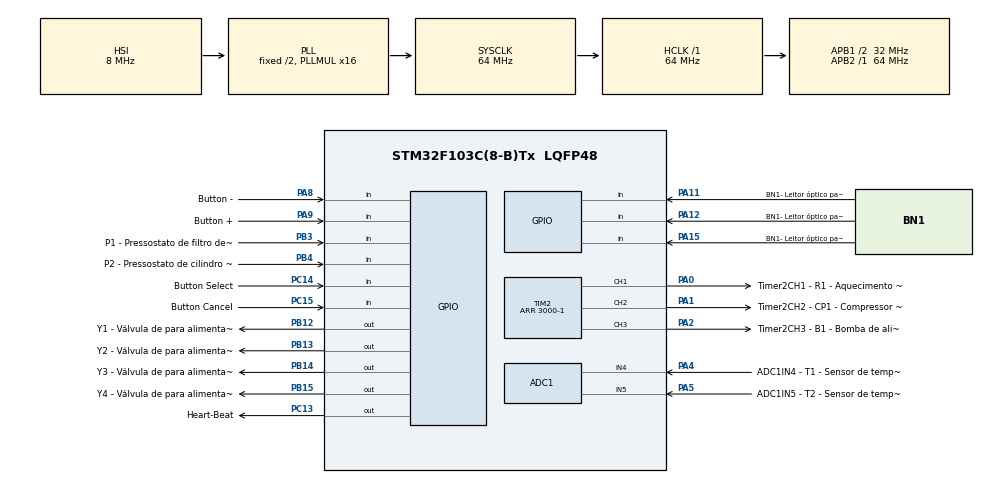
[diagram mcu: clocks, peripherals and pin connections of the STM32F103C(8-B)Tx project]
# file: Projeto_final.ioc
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ADC1.Channel-10\#ChannelRegularConversion=ADC_CHANNEL_4
ADC1.Channel-11\#ChannelRegularConversion=ADC_CHANNEL_4
ADC1.Channel-12\#ChannelRegularConversion=ADC_CHANNEL_4
ADC1.Channel-13\#ChannelRegularConversion=ADC_CHANNEL_4
ADC1.Channel-2\#ChannelRegularConversion=ADC_CHANNEL_4
ADC1.Channel-3\#ChannelRegularConversion=ADC_CHANNEL_4
ADC1.Channel-4\#ChannelRegularConversion=ADC_CHANNEL_4
ADC1.Channel-5\#ChannelRegularConversion=ADC_CHANNEL_4
ADC1.Channel-6\#ChannelRegularConversion=ADC_CHANNEL_4
ADC1.Channel-7\#ChannelRegularConversion=ADC_CHANNEL_4
ADC1.Channel-8\#ChannelRegularConversion=ADC_CHANNEL_4
ADC1.Channel-9\#ChannelRegularConversion=ADC_CHANNEL_4
ADC1.NbrOfConversion=12
ADC1.NbrOfConversionFlag=1
ADC1.Rank-10\#ChannelRegularConversion=9
ADC1.Rank-11\#ChannelRegularConversion=10
ADC1.Rank-12\#ChannelRegularConversion=11
ADC1.Rank-13\#ChannelRegularConversion=12
ADC1.Rank-2\#ChannelRegularConversion=1
ADC1.Rank-3\#ChannelRegularConversion=2
ADC1.Rank-4\#ChannelRegularConversion=3
ADC1.Rank-5\#ChannelRegularConversion=4
ADC1.Rank-6\#ChannelRegularConversion=5
ADC1.Rank-7\#ChannelRegularConversion=6
ADC1.Rank-8\#ChannelRegularConversion=7
ADC1.Rank-9\#ChannelRegularConversion=8
ADC1.SamplingTime-10\#ChannelRegularConversion=ADC_SAMPLETIME_1CYCLE_5
ADC1.SamplingTime-11\#ChannelRegularConversion=ADC_SAMPLETIME_1CYCLE_5
ADC1.SamplingTime-12\#ChannelRegularConversion=ADC_SAMPLETIME_1CYCLE_5
ADC1.SamplingTime-13\#ChannelRegularConversion=ADC_SAMPLETIME_1CYCLE_5
ADC1.SamplingTime-2\#ChannelRegularConversion=ADC_SAMPLETIME_1CYCLE_5
ADC1.SamplingTime-3\#ChannelRegularConversion=ADC_SAMPLETIME_1CYCLE_5
ADC1.SamplingTime-4\#ChannelRegularConversion=ADC_SAMPLETIME_1CYCLE_5
ADC1.SamplingTime-5\#ChannelRegularConversion=ADC_SAMPLETIME_1CYCLE_5
ADC1.SamplingTime-6\#ChannelRegularConversion=ADC_SAMPLETIME_1CYCLE_5
ADC1.SamplingTime-7\#ChannelRegularConversion=ADC_SAMPLETIME_1CYCLE_5
ADC1.SamplingTime-8\#ChannelRegularConversion=ADC_SAMPLETIME_1CYCLE_5
ADC1.SamplingTime-9\#ChannelRegularConversion=ADC_SAMPLETIME_1CYCLE_5
ADC1.master=1
Dma.ADC1.0.Direction=DMA_PERIPH_TO_MEMORY
Dma.ADC1.0.Instance=DMA1_Channel1
Dma.ADC1.0.MemDataAlignment=DMA_MDATAALIGN_WORD
Dma.ADC1.0.MemInc=DMA_MINC_ENABLE
Dma.ADC1.0.Mode=DMA_CIRCULAR
Dma.ADC1.0.PeriphDataAlignment=DMA_PDATAALIGN_WORD
Dma.ADC1.0.PeriphInc=DMA_PINC_DISABLE
Dma.ADC1.0.Priority=DMA_PRIORITY_LOW
Dma.Request0=ADC1
Mcu.Family=STM32F1
Mcu.Name=STM32F103C(8-B)Tx
Mcu.Package=LQFP48
NVIC.DMA1_Channel1_IRQn=true\:0\:0\:false\:false\:true\:false\:true
NVIC.PriorityGroup=NVIC_PRIORITYGROUP_4
NVIC.TIM3_IRQn=true\:0\:0\:false\:false\:true\:true\:true
NVIC.TIM4_IRQn=true\:0\:0\:false\:false\:true\:true\:true
PA0-WKUP.GPIO_Label=Timer2CH1 - R1 - Aquecimento resistivo, sa\u00EDda PWM
PA0-WKUP.Signal=S_TIM2_CH1_ETR
PA1.GPIO_Label=Timer2CH2 - CP1 - Compressor de refrigera\u00E7\u00E3o, sa\u00EDda PWM
PA1.Signal=S_TIM2_CH2
PA11.GPIO_Label=BN1- Leitor \u00F3ptico para detec\u00E7\u00E3o do tipo de c\u00E1psula - bit0
PA11.GPIO_PuPd=GPIO_PULLDOWN
PA11.Signal=GPIO_Input
PA12.GPIO_Label=BN1- Leitor \u00F3ptico para detec\u00E7\u00E3o do tipo de c\u00E1psula - bit1
PA12.GPIO_PuPd=GPIO_PULLDOWN
PA12.Signal=GPIO_Input
PA13.Mode=Serial_Wire
PA13.Signal=SYS_JTMS-SWDIO
PA14.Mode=Serial_Wire
PA14.Signal=SYS_JTCK-SWCLK
PA15.GPIO_Label=BN1- Leitor \u00F3ptico para detec\u00E7\u00E3o do tipo de c\u00E1psula - bit2
PA15.GPIO_PuPd=GPIO_PULLDOWN
PA15.Signal=GPIO_Input
PA2.GPIO_Label=Timer2CH3 - B1 - Bomba de alimenta\u00E7\u00E3o de \u00E1gua, sa\u00EDda PWM
PA2.Signal=S_TIM2_CH3
PA4.GPIO_Label=ADC1IN4 - T1 - Sensor de temperatura anal\u00F3gico, 5..100\u00BAC
PA4.Signal=ADCx_IN4
PA5.GPIO_Label=ADC1IN5 - T2 - Sensor de temperatura anal\u00F3gico, 5..50\u00BAC
PA5.Signal=ADCx_IN5
PA8.GPIO_Label=Button -
PA8.Signal=GPIO_Input
PA9.GPIO_Label=Button +
PA9.Signal=GPIO_Input
PB12.GPIO_Label=Y1 - V\u00E1lvula de para alimenta\u00E7\u00E3o de \u00E1gua quente
PB12.Signal=GPIO_Output
PB13.GPIO_Label=Y2 - V\u00E1lvula de para alimenta\u00E7\u00E3o de \u00E1gua gelada
PB13.Signal=GPIO_Output
PB14.GPIO_Label=Y3 - V\u00E1lvula de para alimenta\u00E7\u00E3o de \u00E1gua natural
PB14.Signal=GPIO_Output
PB15.GPIO_Label=Y4 - V\u00E1lvula de para alimenta\u00E7\u00E3o de CO2
PB15.Signal=GPIO_Output
PB3.GPIO_Label=P1 - Pressostato de filtro de \u00E1gua saturado, contato NF, abre se filtro saturado
PB3.Signal=GPIO_Input
PB4.GPIO_Label=P2 - Pressostato de cilindro de CO2 vazio, contato NF, abre se cilindro vazio
PB4.Signal=GPIO_Input
PC13-TAMPER-RTC.GPIO_Label=Heart-Beat
PC13-TAMPER-RTC.Signal=GPIO_Output
PC14-OSC32_IN.GPIO_Label=Button Select
PC14-OSC32_IN.Signal=GPIO_Input
PC15-OSC32_OUT.GPIO_Label=Button Cancel
PC15-OSC32_OUT.Signal=GPIO_Input
PD0-OSC_IN.Mode=HSE-External-Oscillator
PD0-OSC_IN.Signal=RCC_OSC_IN
PD1-OSC_OUT.Mode=HSE-External-Oscillator
PD1-OSC_OUT.Signal=RCC_OSC_OUT
ProjectManager.HeapSize=0x200
ProjectManager.StackSize=0x400
ProjectManager.TargetToolchain=STM32CubeIDE
RCC.ADCPresc=RCC_ADCPCLK2_DIV6
RCC.AHBFreq_Value=64000000
RCC.APB1CLKDivider=RCC_HCLK_DIV2
RCC.APB1Freq_Value=32000000
RCC.APB1TimFreq_Value=64000000
RCC.APB2Freq_Value=64000000
RCC.APB2TimFreq_Value=64000000
RCC.HCLKFreq_Value=64000000
RCC.PLLMUL=RCC_PLL_MUL16
RCC.SYSCLKFreq_VALUE=64000000
RCC.SYSCLKSource=RCC_SYSCLKSOURCE_PLLCLK
RCC.USBFreq_Value=64000000
SH.ADCx_IN4.0=ADC1_IN4,IN4
SH.ADCx_IN5.0=ADC1_IN5,IN5
SH.S_TIM2_CH1_ETR.0=TIM2_CH1,PWM Generation1 CH1
SH.S_TIM2_CH2.0=TIM2_CH2,PWM Generation2 CH2
SH.S_TIM2_CH3.0=TIM2_CH3,PWM Generation3 CH3
TIM2.Channel-PWM\ Generation1\ CH1=TIM_CHANNEL_1
TIM2.Channel-PWM\ Generation2\ CH2=TIM_CHANNEL_2
TIM2.Channel-PWM\ Generation3\ CH3=TIM_CHANNEL_3
TIM2.Period=3000-1
TIM3.Period=3334
TIM3.Prescaler=7201
TIM4.Period=10001
TIM4.Prescaler=7201
VP_TIM2_VS_ClockSourceINT.Mode=Internal
VP_TIM3_VS_ClockSourceINT.Mode=Internal
VP_TIM4_VS_ClockSourceINT.Mode=Internal
board=custom

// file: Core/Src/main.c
/* USER CODE BEGIN Header */
/**
 ******************************************************************************
 * @file           : main.c
 * @brief          : Main program body
 ******************************************************************************
 * @attention
 *
 * <h2><center>&copy; Copyright (c) 2020 STMicroelectronics.
 * All rights reserved.</center></h2>
 *
 * This software component is licensed by ST under BSD 3-Clause license,
 * the "License"; You may not use this file except in compliance with the
 * License. You may obtain a copy of the License at:
 *                        opensource.org/licenses/BSD-3-Clause
 *
 ******************************************************************************
 */
/* USER CODE END Header */
#include "main.h"

/* USER CODE BEGIN Includes */
#include <time.h>
#include <string.h>
#include <stdio.h>
#include <stdlib.h>
#include "LCD16x2.h"
#include "capsules.h"
#include "relogio.h"
/* USER CODE END Includes */

/* USER CODE BEGIN PD */

#define NUMBER_OF_CONVERSION 12
#define sim 1
#define nao 0
#define scala_temperatura (3.3 / 4095) / 0.005
#define MAX_DUTY_CYCLE_VALUE_TIM2 3000
#define MAX_DUTY_CYCLE_VALUE_TIM1 3000

/* USER CODE END PD */

ADC_HandleTypeDef hadc1;
DMA_HandleTypeDef hdma_adc1;

TIM_HandleTypeDef htim2;
TIM_HandleTypeDef htim3;
TIM_HandleTypeDef htim4;

/* USER CODE BEGIN PV */

//Variáveis para as saídas e entradas da maquina
uint8_t P1 = GPIO_PIN_3; //pino PB3
uint8_t P2 = GPIO_PIN_4; //pino PB4

uint8_t Y1 = GPIO_PIN_12; //pino PB12
uint8_t Y2 = GPIO_PIN_13; //pino PB13
uint8_t Y3 = GPIO_PIN_14; //pino PB14
uint8_t Y4 = GPIO_PIN_15; //pino PB15

uint16_t B1;               //pino PA2
uint16_t R1;               //pino PA0
uint16_t T1;               //pino PA4
uint16_t CP1;              //pino PA1
uint16_t T2;               //pino PA5

uint8_t Bn1_bit0 = GPIO_PIN_11; //pino PA11
uint8_t Bn1_bit1 = GPIO_PIN_12; //pino PA12
uint8_t Bn1_bit2 = GPIO_PIN_15; //pino PA15

uint8_t Bn1;
uint8_t estadoP1;
uint8_t estadoP2;

//Variáveis para o DMA e ADC
uint8_t adcDataReady;
uint32_t adcData[NUMBER_OF_CONVERSION];

//Variáveis dos botões
uint16_t btn_c = GPIO_PIN_15;    //pino PC15
uint16_t btn_mais = GPIO_PIN_9;  //pino PA9
uint16_t btn_menos = GPIO_PIN_8; //pino PA8
uint16_t btn_s = GPIO_PIN_14;    //pino PC14
uint8_t state_btn_c;
uint8_t state_btn_mais;
uint8_t state_btn_menos;
uint8_t state_btn_s;

//outras variaveis
uint8_t testee;
int32_t i;
int32_t j;
uint8_t testeRelogio;
int8_t selecao = -1;
int8_t last_selecao = -1;
uint8_t tela;
uint16_t aux1;
uint16_t aux2;
uint32_t dutyCycle_TIM1_CH4;
uint32_t dutyCycle_TIM2_CH1;
uint32_t dutyCycle_TIM2_CH2;
uint16_t horas;
uint16_t minutos;
uint16_t segundos;
char auxrelogio[2];
/* USER CODE END PV */

void SystemClock_Config(void);
static void MX_GPIO_Init(void);
static void MX_DMA_Init(void);
static void MX_ADC1_Init(void);
static void MX_TIM2_Init(void);
static void MX_TIM3_Init(void);
static void MX_TIM4_Init(void);

int main(void)
{

  /* MCU Configuration--------------------------------------------------------*/

  /* Reset of all peripherals, Initializes the Flash interface and the Systick. */
  HAL_Init();

  /* USER CODE BEGIN Init */
  SystemClock_Config();
  MX_GPIO_Init();
  LCD_Init();
  LCD_Clear();
  /* USER CODE END Init */

  /* Configure the system clock */
  SystemClock_Config();

  /* Initialize all configured peripherals */
  MX_GPIO_Init();
  MX_DMA_Init();
  MX_ADC1_Init();
  MX_TIM2_Init();
  MX_TIM3_Init();
  MX_TIM4_Init();
  /* USER CODE BEGIN 2 */

  //Calibração do ADC
  HAL_ADCEx_Calibration_Start(&hadc1);

  //Inicializa timers
  //HAL_TIM_PWM_Start(&htim1, TIM_CHANNEL_4);
  HAL_TIM_PWM_Start(&htim2, TIM_CHANNEL_1);
  HAL_TIM_PWM_Start(&htim2, TIM_CHANNEL_2);
  HAL_TIM_Base_Start_IT(&htim3);
  HAL_TIM_Base_Start_IT(&htim4);

  //captura a hora do sistema e converte para uint
  strcpy(auxrelogio, __TIME__);
  horas = atoi(auxrelogio);
  strcpy(auxrelogio, __TIME__ + 3);
  minutos = atoi(auxrelogio);
  strcpy(auxrelogio, __TIME__ + 6);
  segundos = atoi(auxrelogio);

  //Inicializa o display
  LCD_Init();
  LCD_Clear();
  LCD_Set_Cursor(2, 1);
  LCD_Write_String(" LIGANDO ");
  HAL_Delay(1500);

  //Insere as informações das capsulas na estrutura
  capsules_init();

  /* Infinite loop */
  LCD_Clear();

  /* USER CODE END 2 */

  /* Infinite loop */
  while (1)
  {

    /* USER CODE BEGIN 3 */

    //identificando capsula
    Bn1 = capsules_get_value(GPIOA, Bn1_bit0, Bn1_bit1, Bn1_bit2);

    //status dos pressostatos
    estadoP1 = HAL_GPIO_ReadPin(GPIOB, P1);
    estadoP2 = HAL_GPIO_ReadPin(GPIOB, P2);

    // verifica se filtro ta ok e se tem co2
    if (!estadoP1)
    {
      LCD_Clear();
      LCD_Set_Cursor(1, 1);
      LCD_Write_String("Filtro Saturado");
      tela = 0;
    }

    if ((Bn1 == 0 && !estadoP2 && capsulas[Bn1].com_gas == sim) || (!estadoP1 && !estadoP2))
    {
      //Se sem CO2 e sem CAPSULAS Ou pressostatos vazios}
      LCD_Clear();
      LCD_Set_Cursor(1, 1);
      LCD_Write_String("CO2 vazio");
    }

    switch (tela)
    {
    case 0:

      //identifica se tem capsula e mostra hora
      atualiza_hora(horas, minutos, segundos);

      //se tem capsula vai pra prox tela
      if (Bn1 != 0 && estadoP1)
      {
        tela = 1;
      }

      //se n tiver mostra relogio dnv
      else
      {
        testeRelogio = 0;
        HAL_Delay(50);
      }
      break;

    case 1: //entra auqi para identificar a capsula

      if (strcmp(capsulas[Bn1].nome, "Cap. nao cadast.") == 0 || Bn1 == 0)
      {
        //Se n existe a capsula
        tela = 1;
        testeRelogio = 0;
        HAL_Delay(50);
        break;
      }

      if (capsulas[Bn1].com_gas == sim && !estadoP2)
      {
        //Se precisa de gas e n tem trava
        tela = 0;
        break;
      }

      if (strcmp(capsulas[Bn1].nome, "      Agua      ") == 0 && selecao == -1)
      {
        //muda de estado se precisa escolher agua
        tela = 10;
        selecao = 0;
        break;
      }

      if (testeRelogio)
      {
        //Se der pau e cancelar mostra relogio
        tela = 0;
      }

      //mostra qual a capsula e espera aperta S pra começa
      else
      {
        LCD_Clear();
        LCD_Set_Cursor(1, 1);
        LCD_Write_String(capsulas[Bn1].nome);
        LCD_Set_Cursor(2, 1);
        LCD_Write_String(" Press S Start ");
        HAL_Delay(50);
      }

      if (state_btn_s)
      {
    	  //se for agua vai rpa tela 10 se for outros vai pra 2
        if (strcmp(capsulas[Bn1].nome, "      Agua      ") == 0 && selecao == 4)
        {
          //Caso o usuario tenha inserido a capsula de Agua e não selecionato o
          tela = 10;
          state_btn_s = 0;
          testeRelogio = 0;
          break;
        }
        tela = 2;
        testeRelogio = 0;
      }

      if (state_btn_c)
      {
    	//Se o usuário inseriu a capsula e cancelou o início - muda o status do relógio
        testeRelogio = 1;
        LCD_Clear();
      }

      break;

    case 2:

      testee = Bn1;
      Bn1 = capsules_get_value(GPIOA, Bn1_bit0, Bn1_bit1, Bn1_bit2);

      //aqui compara se tiver diferente é pq troco a capsula e volta mostra o relogio
      if (Bn1 != testee)
      {
        tela = 1;
        testeRelogio = 1;
      }
      //se nao vai pra prox
      if (state_btn_s == 1)
      {
        tela = 3;
      }
      break;

    case 3: //Identifica qual o tipo de água da capsula e faz o aquecimento ou resfriamento se necessário

      //Leitura das temperaturas do potenciomentro
      T1 = 0;
      T2 = 0;
      for (j = 0; j < 6; j++)
      {
    	  //Lê 6 vezes os 12 canias para ter 36 amostra de cada sensor de temperatura
        HAL_ADC_Start_DMA(&hadc1, adcData, NUMBER_OF_CONVERSION);
        while (!adcDataReady)
        {
        }
        if (adcDataReady)
        {
          adcDataReady = 0;
          aux1 = 0;
          aux1 = 0;
          for (i = 0; i < NUMBER_OF_CONVERSION; i++)
          {
            if (i < 6)
            {
              aux1 += adcData[i];
            }
            else
            {
              aux2 += adcData[i];
            }
          }
          aux1 /= (NUMBER_OF_CONVERSION / 2);
          aux2 /= (NUMBER_OF_CONVERSION / 2);
          aux1 *= scala_temperatura;
          aux2 *= scala_temperatura;
          T1 += aux1;
          T2 += aux2;
        }
      }

      T1 /= 6;
      T2 /= 6;

      if (strcmp(capsulas[Bn1].tipo_agua, "quente") == 0)
      {
        LCD_Clear();
        LCD_Set_Cursor(1, 1);
        LCD_Write_String(" Aquecendo agua ");
        HAL_Delay(40);

        if (T1 >= capsulas[Bn1].temperatura_agua)
        {                                             //Se a temperatura da água estiver menor ou igual a temperatura especificada na capsula
          HAL_GPIO_WritePin(GPIOB, Y1, GPIO_PIN_SET); //Abre valvula de aguá gelada
          tela = 4;                                   //Avança para o próximo estado
          dutyCycle_TIM2_CH1 = 0;                     //Desliga o compressor
          TIM2->CCR1 = dutyCycle_TIM2_CH1;
        }

        else
        {                                                                                                                 //Senão faz a ação de controle
          dutyCycle_TIM2_CH1 = (100 - ((T1 * 100) / capsulas[Bn1].temperatura_agua)) * (MAX_DUTY_CYCLE_VALUE_TIM2 / 100); //Equação para o controle proporcional da resitencia
          TIM2->CCR1 = dutyCycle_TIM2_CH1;
        }
      }

      if (strcmp(capsulas[Bn1].tipo_agua, "gelada") == 0)
      {
    	  //Se a temperatura da água estiver maior ou igual a temperatura especificada na capsula
        LCD_Clear();
        LCD_Set_Cursor(2, 1);
        LCD_Write_String("  Gelando agua  ");
        HAL_Delay(40);

        if (T2 <= capsulas[Bn1].temperatura_agua)
        {
          HAL_GPIO_WritePin(GPIOB, Y2, GPIO_PIN_SET); //Abre valvula de água quente
          tela = 4;                                   //Avança para o próximo estado
          dutyCycle_TIM2_CH2 = 0;                     //Desliga a resitência
          TIM2->CCR2 = dutyCycle_TIM2_CH2;  			//faz o tempo necessario
        }

        else
        {                                                                             //Senão faz a ação de controle
          dutyCycle_TIM2_CH2 = ((T2 * 100) / 50) * (MAX_DUTY_CYCLE_VALUE_TIM2 / 100); //Equação para o controle proporcional do compressor
          TIM2->CCR2 = dutyCycle_TIM2_CH2;
        }
      }

      if (strcmp(capsulas[Bn1].tipo_agua, "natural") == 0)
      {
    	  //Se o tipo de água for natural só abre a valvula
        LCD_Clear();
        LCD_Set_Cursor(2, 1);
        LCD_Write_String("  Agua natural  ");
        HAL_GPIO_WritePin(GPIOB, Y3, GPIO_PIN_SET); //Abre valvula de água natural
        tela = 4;                                   //Avança para o próximo estado
      }

      break;

    case 4: //Ativa a bomba e o CO2
      LCD_Clear();
      LCD_Set_Cursor(2, 0);
      LCD_Write_String(" preparando");
      LCD_Set_Cursor(2, 1);
      LCD_Write_String(" bebida");

      //ve se precisa de gas ai ativa as bombas
      if (capsulas[Bn1].com_gas == sim)
      {
        HAL_GPIO_WritePin(GPIOB, Y4, GPIO_PIN_SET); //Abre valvula de gás
        for (i = 0; i <= 3000; i++)
        { //Liga gradualmente a bomba
          dutyCycle_TIM1_CH4 = i;
          TIM1->CCR4 = dutyCycle_TIM1_CH4;
          HAL_Delay(0.06);
        }

        HAL_Delay(((capsulas[Bn1].tempo_gas) * 1000) - 200);
        HAL_GPIO_WritePin(GPIOB, Y4, GPIO_PIN_RESET); //Fecha valvula de gas
        HAL_Delay(
            ((capsulas[Bn1].tempo_agua - capsulas[Bn1].tempo_gas) * 1000) - 250);
        for (i = 3000; i >= 0; i--)
        { //Desliga gradualmete o bomba
          dutyCycle_TIM1_CH4 = i;
          TIM1->CCR4 = dutyCycle_TIM1_CH4;
          HAL_Delay(0.08);
        }
      }

      else
      {
        for (i = 0; i <= 3000; i++)
        {
        	//Liga bomba
          dutyCycle_TIM1_CH4 = i;
          TIM1->CCR4 = dutyCycle_TIM1_CH4;
          HAL_Delay(0.06);
        }
        HAL_Delay(((capsulas[Bn1].tempo_agua) * 1000) - 550);

        for (i = 3000; i >= 0; i--)

        {
        	//Desliga  bomba
          dutyCycle_TIM1_CH4 = i;
          TIM1->CCR4 = dutyCycle_TIM1_CH4;
          HAL_Delay(0.08);
        }
      }

      //desliga os led e fecha as bomba
      HAL_GPIO_WritePin(GPIOB, Y1, GPIO_PIN_RESET);
      HAL_GPIO_WritePin(GPIOB, Y2, GPIO_PIN_RESET);
      HAL_GPIO_WritePin(GPIOB, Y3, GPIO_PIN_RESET);
      tela = 5;

      break;

    case 5: //quando acaba de preparar a bebida vem pra ca e pede pra zerar os bits
      LCD_Clear();
      LCD_Set_Cursor(2, 0);
      LCD_Write_String(" Remover capsula");
      HAL_Delay(2000);
      if (Bn1 == 0)
      {
    	  //Se capsula removida

        LCD_Clear();
        tela = 0; //Retorna para o tela inicial
      }
      break;

    case 10: //Seleção do tipo de água para a capsula de Agua

      if (strcmp(capsulas[Bn1].nome, "      Agua      ") != 0)
      {           //Se o usuário retirar a capsula ou for uma capsula diferente
        tela = 0; //Retorna para o estado inicial
        selecao = -1;
        break;
      }
      //Incremento se os botões forem pressionados
      if (state_btn_mais)
        selecao++;
      if (state_btn_menos)
        selecao--;

      //Se C presionado vai para o estado 1
      if (state_btn_c)
      {
    	 LCD_Clear();
        tela = 0;
        selecao = -1;
        LCD_Clear();
        break;
      }

      //Organiza a seleçao
      if (selecao == -1)
        selecao = 3;
      if (selecao == 4)
        selecao = 0;

      if (last_selecao != selecao)
      {
        tela = 11;
      }

      //Se S pressionado vai para o estado 1
      if (state_btn_s)
      {
        tela = 1;
      }

      break;

    case 11:

      //As opções
      if (selecao == 0)
      {
        LCD_Clear();
        LCD_Set_Cursor(1, 1);
        LCD_Write_String(" Tipo Agua ");
        LCD_Set_Cursor(2, 1);
        LCD_Write_String("   Agua quente  ");
        strcpy(capsulas[Bn1].tipo_agua, "quente");
        capsulas[Bn1].temperatura_agua = 80;
        capsulas[Bn1].tempo_agua = 3;
      }
      if (selecao == 1)
      {
        LCD_Clear();
        LCD_Set_Cursor(1, 1);
        LCD_Write_String(" Tipo Agua ");
        LCD_Set_Cursor(2, 1);
        LCD_Write_String("   Agua gelada  ");
        strcpy(capsulas[Bn1].tipo_agua, "gelada");
        capsulas[Bn1].temperatura_agua = 10;
        capsulas[Bn1].tempo_agua = 3;
      }
      if (selecao == 3)
      {
        LCD_Clear();
        LCD_Set_Cursor(1, 1);
        LCD_Write_String(" Tipo Agua ");
        LCD_Set_Cursor(2, 1);
        LCD_Write_String("   Agua natural  ");
        strcpy(capsulas[Bn1].tipo_agua, "natural");
        capsulas[Bn1].tempo_agua = 3;
      }

      last_selecao = selecao;
      tela = 10;

      break;
    }
  }
}
/* USER CODE END 3 */

void SystemClock_Config(void)
{
  RCC_OscInitTypeDef RCC_OscInitStruct = {0};
  RCC_ClkInitTypeDef RCC_ClkInitStruct = {0};
  RCC_PeriphCLKInitTypeDef PeriphClkInit = {0};

  /** Initializes the RCC Oscillators according to the specified parameters
  * in the RCC_OscInitTypeDef structure.
  */
  RCC_OscInitStruct.OscillatorType = RCC_OSCILLATORTYPE_HSI;
  RCC_OscInitStruct.HSIState = RCC_HSI_ON;
  RCC_OscInitStruct.HSICalibrationValue = RCC_HSICALIBRATION_DEFAULT;
  RCC_OscInitStruct.PLL.PLLState = RCC_PLL_ON;
  RCC_OscInitStruct.PLL.PLLSource = RCC_PLLSOURCE_HSI_DIV2;
  RCC_OscInitStruct.PLL.PLLMUL = RCC_PLL_MUL16;
  if (HAL_RCC_OscConfig(&RCC_OscInitStruct) != HAL_OK)
  {
    Error_Handler();
  }
  /** Initializes the CPU, AHB and APB buses clocks
  */
  RCC_ClkInitStruct.ClockType = RCC_CLOCKTYPE_HCLK | RCC_CLOCKTYPE_SYSCLK | RCC_CLOCKTYPE_PCLK1 | RCC_CLOCKTYPE_PCLK2;
  RCC_ClkInitStruct.SYSCLKSource = RCC_SYSCLKSOURCE_PLLCLK;
  RCC_ClkInitStruct.AHBCLKDivider = RCC_SYSCLK_DIV1;
  RCC_ClkInitStruct.APB1CLKDivider = RCC_HCLK_DIV2;
  RCC_ClkInitStruct.APB2CLKDivider = RCC_HCLK_DIV1;

  if (HAL_RCC_ClockConfig(&RCC_ClkInitStruct, FLASH_LATENCY_2) != HAL_OK)
  {
    Error_Handler();
  }
  PeriphClkInit.PeriphClockSelection = RCC_PERIPHCLK_ADC;
  PeriphClkInit.AdcClockSelection = RCC_ADCPCLK2_DIV6;
  if (HAL_RCCEx_PeriphCLKConfig(&PeriphClkInit) != HAL_OK)
  {
    Error_Handler();
  }
}

static void MX_ADC1_Init(void)
{

  ADC_ChannelConfTypeDef sConfig = {0};

  /** Common config
  */
  hadc1.Instance = ADC1;
  hadc1.Init.ScanConvMode = ADC_SCAN_ENABLE;
  hadc1.Init.ContinuousConvMode = DISABLE;
  hadc1.Init.DiscontinuousConvMode = DISABLE;
  hadc1.Init.ExternalTrigConv = ADC_SOFTWARE_START;
  hadc1.Init.DataAlign = ADC_DATAALIGN_RIGHT;
  hadc1.Init.NbrOfConversion = 12;
  if (HAL_ADC_Init(&hadc1) != HAL_OK)
  {
    Error_Handler();
  }
  /** Configure Regular Channel
  */
  sConfig.Channel = ADC_CHANNEL_4;
  sConfig.Rank = ADC_REGULAR_RANK_1;
  sConfig.SamplingTime = ADC_SAMPLETIME_1CYCLE_5;
  if (HAL_ADC_ConfigChannel(&hadc1, &sConfig) != HAL_OK)
  {
    Error_Handler();
  }
  /** Configure Regular Channel
  */
  sConfig.Rank = ADC_REGULAR_RANK_2;
  if (HAL_ADC_ConfigChannel(&hadc1, &sConfig) != HAL_OK)
  {
    Error_Handler();
  }
  /** Configure Regular Channel
  */
  sConfig.Rank = ADC_REGULAR_RANK_3;
  if (HAL_ADC_ConfigChannel(&hadc1, &sConfig) != HAL_OK)
  {
    Error_Handler();
  }
  /** Configure Regular Channel
  */
  sConfig.Rank = ADC_REGULAR_RANK_4;
  if (HAL_ADC_ConfigChannel(&hadc1, &sConfig) != HAL_OK)
  {
    Error_Handler();
  }
  /** Configure Regular Channel
  */
  sConfig.Rank = ADC_REGULAR_RANK_5;
  if (HAL_ADC_ConfigChannel(&hadc1, &sConfig) != HAL_OK)
  {
    Error_Handler();
  }
  /** Configure Regular Channel
  */
  sConfig.Rank = ADC_REGULAR_RANK_6;
  if (HAL_ADC_ConfigChannel(&hadc1, &sConfig) != HAL_OK)
  {
    Error_Handler();
  }
  /** Configure Regular Channel
  */
  sConfig.Rank = ADC_REGULAR_RANK_7;
  if (HAL_ADC_ConfigChannel(&hadc1, &sConfig) != HAL_OK)
  {
    Error_Handler();
  }
  /** Configure Regular Channel
  */
  sConfig.Rank = ADC_REGULAR_RANK_8;
  if (HAL_ADC_ConfigChannel(&hadc1, &sConfig) != HAL_OK)
  {
    Error_Handler();
  }
  /** Configure Regular Channel
  */
  sConfig.Rank = ADC_REGULAR_RANK_9;
  if (HAL_ADC_ConfigChannel(&hadc1, &sConfig) != HAL_OK)
  {
    Error_Handler();
  }
  /** Configure Regular Channel
  */
  sConfig.Rank = ADC_REGULAR_RANK_10;
  if (HAL_ADC_ConfigChannel(&hadc1, &sConfig) != HAL_OK)
  {
    Error_Handler();
  }
  /** Configure Regular Channel
  */
  sConfig.Rank = ADC_REGULAR_RANK_11;
  if (HAL_ADC_ConfigChannel(&hadc1, &sConfig) != HAL_OK)
  {
    Error_Handler();
  }
  /** Configure Regular Channel
  */
  sConfig.Rank = ADC_REGULAR_RANK_12;
  if (HAL_ADC_ConfigChannel(&hadc1, &sConfig) != HAL_OK)
  {
    Error_Handler();
  }
}

static void MX_TIM2_Init(void)
{

  TIM_ClockConfigTypeDef sClockSourceConfig = {0};
  TIM_MasterConfigTypeDef sMasterConfig = {0};
  TIM_OC_InitTypeDef sConfigOC = {0};

  htim2.Instance = TIM2;
  htim2.Init.Prescaler = 0;
  htim2.Init.CounterMode = TIM_COUNTERMODE_UP;
  htim2.Init.Period = 3000 - 1;
  htim2.Init.ClockDivision = TIM_CLOCKDIVISION_DIV1;
  htim2.Init.AutoReloadPreload = TIM_AUTORELOAD_PRELOAD_DISABLE;
  if (HAL_TIM_Base_Init(&htim2) != HAL_OK)
  {
    Error_Handler();
  }
  sClockSourceConfig.ClockSource = TIM_CLOCKSOURCE_INTERNAL;
  if (HAL_TIM_ConfigClockSource(&htim2, &sClockSourceConfig) != HAL_OK)
  {
    Error_Handler();
  }
  if (HAL_TIM_PWM_Init(&htim2) != HAL_OK)
  {
    Error_Handler();
  }
  sMasterConfig.MasterOutputTrigger = TIM_TRGO_RESET;
  sMasterConfig.MasterSlaveMode = TIM_MASTERSLAVEMODE_DISABLE;
  if (HAL_TIMEx_MasterConfigSynchronization(&htim2, &sMasterConfig) != HAL_OK)
  {
    Error_Handler();
  }
  sConfigOC.OCMode = TIM_OCMODE_PWM1;
  sConfigOC.Pulse = 0;
  sConfigOC.OCPolarity = TIM_OCPOLARITY_HIGH;
  sConfigOC.OCFastMode = TIM_OCFAST_DISABLE;
  if (HAL_TIM_PWM_ConfigChannel(&htim2, &sConfigOC, TIM_CHANNEL_1) != HAL_OK)
  {
    Error_Handler();
  }
  if (HAL_TIM_PWM_ConfigChannel(&htim2, &sConfigOC, TIM_CHANNEL_2) != HAL_OK)
  {
    Error_Handler();
  }
  if (HAL_TIM_PWM_ConfigChannel(&htim2, &sConfigOC, TIM_CHANNEL_3) != HAL_OK)
  {
    Error_Handler();
  }
  HAL_TIM_MspPostInit(&htim2);
}

static void MX_TIM3_Init(void)
{

  TIM_ClockConfigTypeDef sClockSourceConfig = {0};
  TIM_MasterConfigTypeDef sMasterConfig = {0};

  htim3.Instance = TIM3;
  htim3.Init.Prescaler = 7201;
  htim3.Init.CounterMode = TIM_COUNTERMODE_UP;
  htim3.Init.Period = 3334;
  htim3.Init.ClockDivision = TIM_CLOCKDIVISION_DIV1;
  htim3.Init.AutoReloadPreload = TIM_AUTORELOAD_PRELOAD_DISABLE;
  if (HAL_TIM_Base_Init(&htim3) != HAL_OK)
  {
    Error_Handler();
  }
  sClockSourceConfig.ClockSource = TIM_CLOCKSOURCE_INTERNAL;
  if (HAL_TIM_ConfigClockSource(&htim3, &sClockSourceConfig) != HAL_OK)
  {
    Error_Handler();
  }
  sMasterConfig.MasterOutputTrigger = TIM_TRGO_RESET;
  sMasterConfig.MasterSlaveMode = TIM_MASTERSLAVEMODE_DISABLE;
  if (HAL_TIMEx_MasterConfigSynchronization(&htim3, &sMasterConfig) != HAL_OK)
  {
    Error_Handler();
  }
}

static void MX_TIM4_Init(void)
{

  TIM_ClockConfigTypeDef sClockSourceConfig = {0};
  TIM_MasterConfigTypeDef sMasterConfig = {0};

  htim4.Instance = TIM4;
  htim4.Init.Prescaler = 7201;
  htim4.Init.CounterMode = TIM_COUNTERMODE_UP;
  htim4.Init.Period = 10001;
  htim4.Init.ClockDivision = TIM_CLOCKDIVISION_DIV1;
  htim4.Init.AutoReloadPreload = TIM_AUTORELOAD_PRELOAD_DISABLE;
  if (HAL_TIM_Base_Init(&htim4) != HAL_OK)
  {
    Error_Handler();
  }
  sClockSourceConfig.ClockSource = TIM_CLOCKSOURCE_INTERNAL;
  if (HAL_TIM_ConfigClockSource(&htim4, &sClockSourceConfig) != HAL_OK)
  {
    Error_Handler();
  }
  sMasterConfig.MasterOutputTrigger = TIM_TRGO_RESET;
  sMasterConfig.MasterSlaveMode = TIM_MASTERSLAVEMODE_DISABLE;
  if (HAL_TIMEx_MasterConfigSynchronization(&htim4, &sMasterConfig) != HAL_OK)
  {
    Error_Handler();
  }
}

static void MX_DMA_Init(void)
{

  /* DMA controller clock enable */
  __HAL_RCC_DMA1_CLK_ENABLE();

  /* DMA interrupt init */
  /* DMA1_Channel1_IRQn interrupt configuration */
  HAL_NVIC_SetPriority(DMA1_Channel1_IRQn, 0, 0);
  HAL_NVIC_EnableIRQ(DMA1_Channel1_IRQn);
}

static void MX_GPIO_Init(void)
{
  GPIO_InitTypeDef GPIO_InitStruct = {0};

  /* GPIO Ports Clock Enable */
  __HAL_RCC_GPIOC_CLK_ENABLE();
  __HAL_RCC_GPIOD_CLK_ENABLE();
  __HAL_RCC_GPIOA_CLK_ENABLE();
  __HAL_RCC_GPIOB_CLK_ENABLE();

  /*Configure GPIO pin Output Level */
  HAL_GPIO_WritePin(Heart_Beat_GPIO_Port, Heart_Beat_Pin, GPIO_PIN_RESET);

  /*Configure GPIO pin Output Level */
  HAL_GPIO_WritePin(GPIOB, Y1___V_lvula_de_para_alimenta__o_de__gua_quente_Pin | Y2___V_lvula_de_para_alimenta__o_de__gua_gelada_Pin | Y3___V_lvula_de_para_alimenta__o_de__gua_natural_Pin | Y4___V_lvula_de_para_alimenta__o_de_CO2_Pin, GPIO_PIN_RESET);

  /*Configure GPIO pin : Heart_Beat_Pin */
  GPIO_InitStruct.Pin = Heart_Beat_Pin;
  GPIO_InitStruct.Mode = GPIO_MODE_OUTPUT_PP;
  GPIO_InitStruct.Pull = GPIO_NOPULL;
  GPIO_InitStruct.Speed = GPIO_SPEED_FREQ_LOW;
  HAL_GPIO_Init(Heart_Beat_GPIO_Port, &GPIO_InitStruct);

  /*Configure GPIO pins : Button_Select_Pin Button_Cancel_Pin */
  GPIO_InitStruct.Pin = Button_Select_Pin | Button_Cancel_Pin;
  GPIO_InitStruct.Mode = GPIO_MODE_INPUT;
  GPIO_InitStruct.Pull = GPIO_NOPULL;
  HAL_GPIO_Init(GPIOC, &GPIO_InitStruct);

  /*Configure GPIO pins : Y1___V_lvula_de_para_alimenta__o_de__gua_quente_Pin Y2___V_lvula_de_para_alimenta__o_de__gua_gelada_Pin Y3___V_lvula_de_para_alimenta__o_de__gua_natural_Pin Y4___V_lvula_de_para_alimenta__o_de_CO2_Pin */
  GPIO_InitStruct.Pin = Y1___V_lvula_de_para_alimenta__o_de__gua_quente_Pin | Y2___V_lvula_de_para_alimenta__o_de__gua_gelada_Pin | Y3___V_lvula_de_para_alimenta__o_de__gua_natural_Pin | Y4___V_lvula_de_para_alimenta__o_de_CO2_Pin;
  GPIO_InitStruct.Mode = GPIO_MODE_OUTPUT_PP;
  GPIO_InitStruct.Pull = GPIO_NOPULL;
  GPIO_InitStruct.Speed = GPIO_SPEED_FREQ_LOW;
  HAL_GPIO_Init(GPIOB, &GPIO_InitStruct);

  /*Configure GPIO pins : Button___Pin Button__A9_Pin */
  GPIO_InitStruct.Pin = Button___Pin | Button__A9_Pin;
  GPIO_InitStruct.Mode = GPIO_MODE_INPUT;
  GPIO_InitStruct.Pull = GPIO_NOPULL;
  HAL_GPIO_Init(GPIOA, &GPIO_InitStruct);

  /*Configure GPIO pins : BN1__Leitor__ptico_para_detec__o_do_tipo_de_c_psula___bit0_Pin BN1__Leitor__ptico_para_detec__o_do_tipo_de_c_psula___bit1_Pin BN1__Leitor__ptico_para_detec__o_do_tipo_de_c_psula___bit2_Pin */
  GPIO_InitStruct.Pin = BN1__Leitor__ptico_para_detec__o_do_tipo_de_c_psula___bit0_Pin | BN1__Leitor__ptico_para_detec__o_do_tipo_de_c_psula___bit1_Pin | BN1__Leitor__ptico_para_detec__o_do_tipo_de_c_psula___bit2_Pin;
  GPIO_InitStruct.Mode = GPIO_MODE_INPUT;
  GPIO_InitStruct.Pull = GPIO_PULLDOWN;
  HAL_GPIO_Init(GPIOA, &GPIO_InitStruct);

  /*Configure GPIO pins : P1___Pressostato_de_filtro_de__gua_saturado__contato_NF__abre_se_filtro_saturado_Pin P2___Pressostato_de_cilindro_de_CO2_vazio__contato_NF__abre_se_cilindro_vazio_Pin */
  GPIO_InitStruct.Pin = P1___Pressostato_de_filtro_de__gua_saturado__contato_NF__abre_se_filtro_saturado_Pin | P2___Pressostato_de_cilindro_de_CO2_vazio__contato_NF__abre_se_cilindro_vazio_Pin;
  GPIO_InitStruct.Mode = GPIO_MODE_INPUT;
  GPIO_InitStruct.Pull = GPIO_NOPULL;
  HAL_GPIO_Init(GPIOB, &GPIO_InitStruct);
}

/* USER CODE BEGIN 4 */

//Função para as inperrupções dos timers
void HAL_TIM_PeriodElapsedCallback(TIM_HandleTypeDef *htim)
{
  //Verifica qual time gerou a interrupção
  if (htim == &htim3)
  {

    /////Leitura botões//////
    state_btn_c = HAL_GPIO_ReadPin(GPIOC, btn_c);
    state_btn_mais = HAL_GPIO_ReadPin(GPIOA, btn_mais);
    state_btn_menos = HAL_GPIO_ReadPin(GPIOA, btn_menos);
    state_btn_s = HAL_GPIO_ReadPin(GPIOC, btn_s);

    //////Led para mostar que o sistemas esta funcionando////
    HAL_GPIO_TogglePin(GPIOC, GPIO_PIN_13);
  }
  if (htim == &htim4)
  {
    //Contado para o funcionamento do relógio
    segundos++;
    if (segundos == 60)
    {
      segundos = 0;
      minutos++;
    }
    if (minutos == 60)
    {
      horas++;
      minutos = 0;
    }
    if (horas == 24)
    {
      horas = 0;
    }
  }
}

//Função do DMA
void HAL_ADC_ConvHalfCpltCallback(ADC_HandleTypeDef *hadc)
{
  adcDataReady = 1;
}

/* USER CODE END 4 */

void Error_Handler(void)
{
}

/************************ (C) COPYRIGHT STMicroelectronics *****END OF FILE****/
